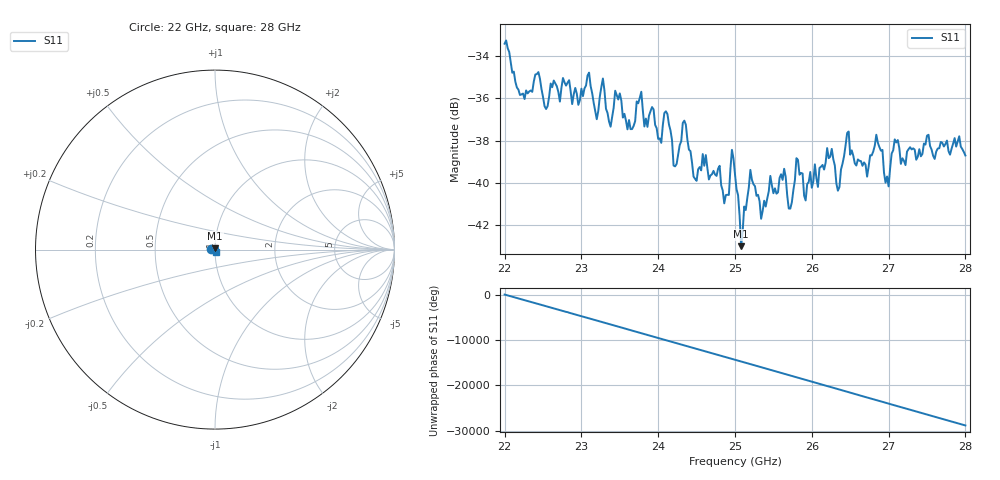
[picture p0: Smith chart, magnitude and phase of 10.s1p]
#  HZ  S  RI  R  50.00
! Rohde & Schwarz ZVA40 4Ports - Version 3.90 - 1145.1110k42 SN: 100403
! Date: 2023-10-04 10:21:05
! Measurement: S12
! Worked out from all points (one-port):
!   301 points, 22 GHz to 28 GHz, reference 50 ohm
!   lowest |S11| = -43.0 dB at 25.08 GHz (marker M1), VSWR 1.01, Z = 50 + j0.707 ohm
!   |S11| at or under -10 dB: start of sweep to end of sweep
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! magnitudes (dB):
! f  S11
! 22 GHz  -33.4
! 22.26 GHz  -36.0
! 22.76 GHz  -35.0
! 23.1 GHz  -34.8
! 23.2 GHz  -37.0
! 23.28 GHz  -35.1
! 23.38 GHz  -37.3
! 23.5 GHz  -35.8
! 24.04 GHz  -38.1
! 24.1 GHz  -36.6
! 24.26 GHz  -38.7
! 24.34 GHz  -37.1
! 24.5 GHz  -39.9
! 25 GHz  -39.6
! 25.08 GHz  -43.0
! 25.2 GHz  -39.4
! 25.34 GHz  -41.7
! 25.46 GHz  -39.7
! 25.76 GHz  -40.4
! 25.8 GHz  -38.8
! 25.92 GHz  -40.8
! 26.5 GHz  -38.7
! 26.72 GHz  -39.7
! 26.84 GHz  -37.7
! 27 GHz  -40.2
! 27.08 GHz  -37.9
! 27.26 GHz  -38.4
! 28 GHz  -38.7
